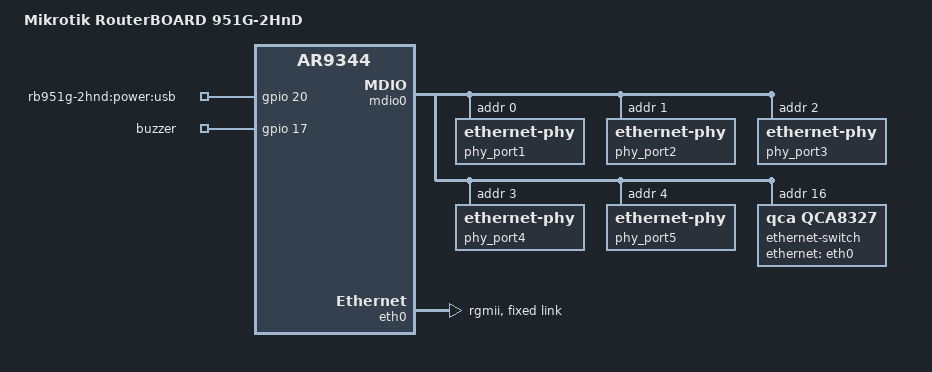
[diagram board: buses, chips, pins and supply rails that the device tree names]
// SPDX-License-Identifier: GPL-2.0-or-later OR MIT

#include "ar9344_mikrotik_routerboard-951x-2hnd.dtsi"

/ {
	compatible = "mikrotik,routerboard-951g-2hnd", "qca,ar9344";
	model = "Mikrotik RouterBOARD 951G-2HnD";

	/delete-node/ aliases;
	/delete-node/ leds;

	gpio-export {
		compatible = "gpio-export";

		gpio_usb_power {
			gpio-export,name = "rb951g-2hnd:power:usb";
			gpio-export,output = <1>;
			gpios = <&gpio 20 GPIO_ACTIVE_HIGH>;
		};

		buzzer {
			gpio-export,name = "buzzer";
			gpio-export,output = <1>;
			gpios = <&gpio 17 GPIO_ACTIVE_HIGH>;
		};
	};
};

&ref {
	clock-frequency = <25000000>;
};

&mdio0 {
	status = "okay";

	phy_port1: ethernet-phy@0 {
		reg = <0>;
	};

	phy_port2: ethernet-phy@1 {
		reg = <1>;
	};

	phy_port3: ethernet-phy@2 {
		reg = <2>;
	};

	phy_port4: ethernet-phy@3 {
		reg = <3>;
	};

	phy_port5: ethernet-phy@4 {
		reg = <4>;
	};

	ethernet-switch@10 {
		compatible = "qca,qca8327";
		#address-cells = <1>;
		#size-cells = <0>;

		reg = <16>;

		ethernet-ports {
			#address-cells = <1>;
			#size-cells = <0>;

			ethernet-port@0 {
				reg = <0>;
				ethernet = <&eth0>;
				phy-mode = "rgmii-id";

				fixed-link {
					speed = <1000>;
					full-duplex;
				};
			};

			ethernet-port@1 {
				reg = <1>;
				label = "wan";
				phy-handle = <&phy_port1>;
			};

			ethernet-port@2 {
				reg = <2>;
				label = "lan1";
				phy-handle = <&phy_port2>;
			};

			ethernet-port@3 {
				reg = <3>;
				label = "lan2";
				phy-handle = <&phy_port3>;
			};

			ethernet-port@4 {
				reg = <4>;
				label = "lan3";
				phy-handle = <&phy_port4>;
			};

			ethernet-port@5 {
				reg = <5>;
				label = "lan4";
				phy-handle = <&phy_port5>;
			};
		};
	};
};

&eth0 {
	status = "okay";

	pll-data = <0x6f000000 0x00000101 0x00001616>;

	phy-mode = "rgmii";

	fixed-link {
		speed = <1000>;
		full-duplex;
	};

	gmac-config {
		device = <&gmac>;
		rgmii-gmac0 = <1>;
		rxd-delay = <1>;
		switch-only-mode = <1>;
	};
};

&eth1 {
	status = "disabled";
};
